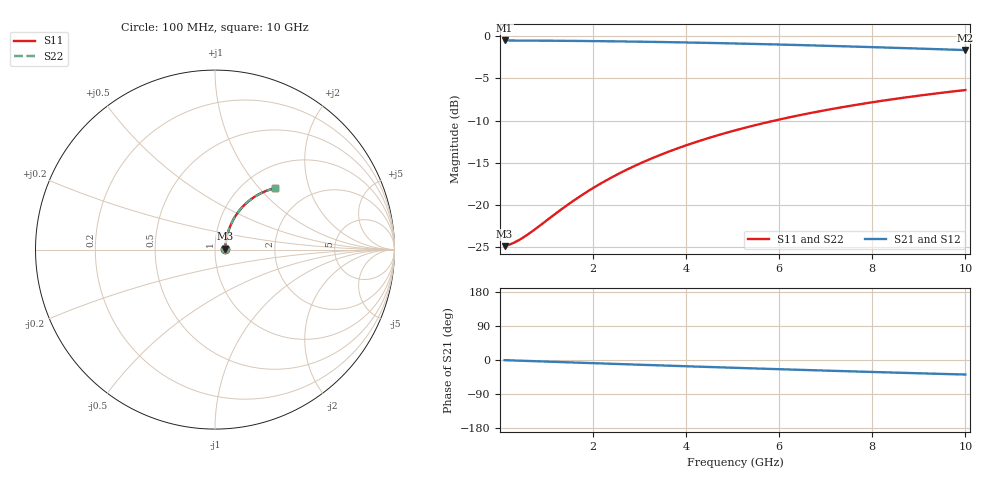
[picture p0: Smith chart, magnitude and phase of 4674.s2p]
# Hz S RI R 50.00
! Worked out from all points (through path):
!   100 points, 100 MHz to 10 GHz, reference 50 ohm
!   highest |S21| = -0.51 dB at 100 MHz (marker M1); lowest = -1.6 dB at 10 GHz (marker M2)
!   group delay of S21, straight-line fit = 10.7 ps
!   lowest |S11| = -24.9 dB at 100 MHz (marker M3), VSWR 1.12, Z = 56 + j0.587 ohm
!   |S11| at or under -10 dB: start of sweep to 5.894 GHz
!   |S22| runs from -24.9 to -6.4 dB; largest |S21 - S12| = 0
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1e8  0.057 0.00522  0.943 -0.00691  0.943 -0.00691  0.057 0.00522
2e8  0.0574 0.0104  0.9426 -0.0138  0.9426 -0.0138  0.0574 0.0104
3e8  0.0579 0.0156  0.9421 -0.0207  0.9421 -0.0207  0.0579 0.0156
5e8  0.0589 0.026  0.9411 -0.0345  0.9411 -0.0345  0.0589 0.026
7e8  0.0601 0.0364  0.9398 -0.0482  0.9398 -0.0482  0.0601 0.0364
1.4e9  0.0664 0.0721  0.9333 -0.0957  0.9333 -0.0957  0.0664 0.0721
1.8e9  0.0715 0.0921  0.928 -0.1225  0.928 -0.1225  0.0715 0.0921
2.2e9  0.0776 0.1117  0.9216 -0.1488  0.9216 -0.1488  0.0776 0.1117
2.6e9  0.0849 0.1308  0.9141 -0.1747  0.9141 -0.1747  0.0849 0.1308
3e9  0.0931 0.1493  0.9055 -0.2  0.9055 -0.2  0.0931 0.1493
3.4e9  0.1023 0.1672  0.8959 -0.2247  0.8959 -0.2247  0.1023 0.1672
3.8e9  0.1124 0.1844  0.8854 -0.2487  0.8854 -0.2487  0.1124 0.1844
4.2e9  0.1234 0.2009  0.8739 -0.2719  0.8739 -0.2719  0.1234 0.2009
4.6e9  0.1352 0.2166  0.8617 -0.2944  0.8617 -0.2944  0.1352 0.2166
5.1e9  0.1508 0.2351  0.8453 -0.3214  0.8453 -0.3214  0.1508 0.2351
5.5e9  0.1641 0.2488  0.8314 -0.3421  0.8314 -0.3421  0.1641 0.2488
5.9e9  0.1779 0.2618  0.8169 -0.3618  0.8169 -0.3618  0.1779 0.2618
6.7e9  0.2069 0.2849  0.7863 -0.3987  0.7863 -0.3987  0.2069 0.2849
7.5e9  0.2374 0.3043  0.7541 -0.4319  0.7541 -0.4319  0.2374 0.3043
8.4e9  0.2727 0.3219  0.7166 -0.4651  0.7166 -0.4651  0.2727 0.3219
9.2e9  0.3045 0.3338  0.6827 -0.4909  0.6827 -0.4909  0.3045 0.3338
1e10  0.3363 0.3423  0.6485 -0.5135  0.6485 -0.5135  0.3363 0.3423
